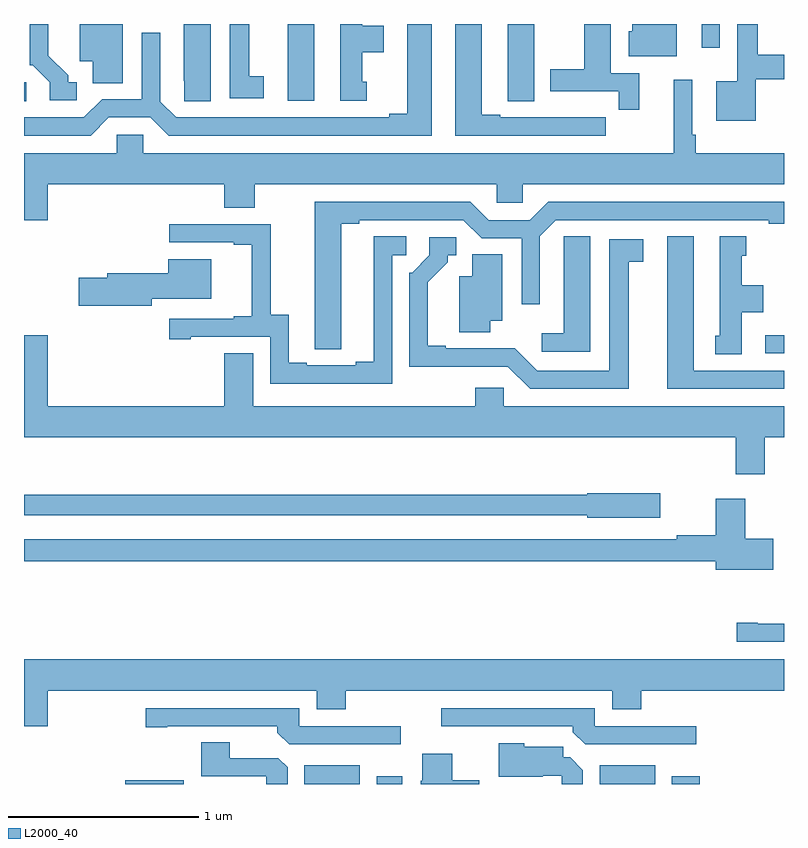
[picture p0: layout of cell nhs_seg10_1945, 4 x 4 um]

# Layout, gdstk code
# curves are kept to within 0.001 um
import gdstk
lib = gdstk.Library(unit=1e-6, precision=1e-09)
def R(c, l, rs):  # rectangles x0, y0, x1, y1
    for r in rs: c.add(gdstk.rectangle(r[:2], r[2:], *l))
def P(c, l, *ps):  # polygons
    for p in ps: c.add(gdstk.Polygon(p, *l))
L2000_40 = (2000, 40)

nhs_seg10_1945 = lib.new_cell('nhs_seg10_1945')
R(nhs_seg10_1945, L2000_40, [(213.533,1290.5,213.841,1290.52), (214.475,1290.5,214.768,1290.598), (214.856,1290.5,214.99,1290.541), (216.029,1290.5,216.322,1290.598), (216.41,1290.5,216.557,1290.541), (216.9,1292.766,217,1292.862), (213,1294.093,213.013,1294.194), (214.388,1294.095,214.528,1294.5), (216.566,1294.374,216.663,1294.5)])
P(nhs_seg10_1945, L2000_40, [(215.686,1294.5),(215.546,1294.5),(215.546,1294.201),(215.547,1294.201),(215.547,1294.093),(215.686,1294.093)],
  [(216.436,1294.5),(216.2,1294.5),(216.2,1294.461),(216.182,1294.461),(216.182,1294.331),(216.436,1294.331)],
  [(213.982,1294.5),(213.842,1294.5),(213.842,1294.201),(213.843,1294.201),(213.843,1294.093),(213.982,1294.093)],
  [(213.277,1294.194),(213.232,1294.194),(213.232,1294.229),(213.127,1294.334),(213.127,1294.5),(213.03,1294.5),(213.03,1294.284),(213.045,1294.284),(213.135,1294.194),(213.135,1294.098),(213.277,1294.098)],
  [(216.061,1294.008),(215.948,1294.008),(215.948,1294.009),(215.782,1294.009),(215.782,1294.008),(215.506,1294.008),(215.506,1294.023),(215.41,1294.023),(215.41,1294.5),(215.27,1294.5),(215.27,1293.912),(216.061,1293.912)],
  [(214.261,1294.226),(214.186,1294.226),(214.186,1294.5),(214.082,1294.5),(214.082,1294.11),(214.261,1294.11)],
  [(213.447,1294.008),(213.665,1294.008),(213.761,1293.912),(215.146,1293.912),(215.146,1294.5),(215.018,1294.5),(215.018,1294.028),(214.922,1294.028),(214.922,1294.008),(213.801,1294.008),(213.717,1294.092),(213.717,1294.453),(213.621,1294.453),(213.621,1294.104),(213.411,1294.104),(213.315,1294.008),(213,1294.008),(213,1293.912),(213.351,1293.912)],
  [(213.52,1294.5),(213.293,1294.5),(213.293,1294.304),(213.362,1294.304),(213.362,1294.189),(213.52,1294.189)],
  [(216.239,1294.242),(216.088,1294.242),(216.088,1294.5),(215.948,1294.5),(215.948,1294.263),(215.771,1294.263),(215.771,1294.146),(216.13,1294.146),(216.13,1294.05),(216.239,1294.05)],
  [(216.85,1294.208),(217,1294.208),(217,1294.338),(216.862,1294.338),(216.862,1294.5),(216.753,1294.5),(216.753,1294.198),(216.644,1294.198),(216.644,1293.992),(216.85,1293.992)],
  [(214.804,1294.197),(214.78,1294.197),(214.78,1294.352),(214.894,1294.352),(214.894,1294.492),(214.78,1294.492),(214.78,1294.5),(214.664,1294.5),(214.664,1294.095),(214.804,1294.095)],
  [(213.124,1293.656),(214.055,1293.656),(214.055,1293.532),(214.215,1293.532),(214.215,1293.656),(215.487,1293.656),(215.487,1293.558),(215.625,1293.558),(215.625,1293.656),(217,1293.656),(217,1293.82),(216.536,1293.82),(216.536,1293.916),(216.516,1293.916),(216.516,1294.207),(216.419,1294.207),(216.419,1293.82),(213.627,1293.82),(213.627,1293.918),(213.489,1293.918),(213.489,1293.82),(213,1293.82),(213,1293.468),(213.124,1293.468)],
  [(214.669,1293.448),(214.765,1293.448),(214.765,1293.468),(215.313,1293.468),(215.409,1293.372),(215.619,1293.372),(215.619,1293.024),(215.715,1293.024),(215.715,1293.384),(215.799,1293.468),(216.92,1293.468),(216.92,1293.448),(217,1293.448),(217,1293.564),(215.759,1293.564),(215.663,1293.468),(215.445,1293.468),(215.349,1293.564),(214.529,1293.564),(214.53,1292.788),(214.669,1292.788)],
  [(214.938,1293.282),(215.011,1293.282),(215.011,1293.383),(214.841,1293.383),(214.841,1292.723),(214.745,1292.723),(214.745,1292.703),(214.489,1292.703),(214.489,1292.718),(214.393,1292.718),(214.393,1292.969),(214.299,1292.969),(214.299,1293.447),(213.765,1293.447),(213.765,1293.351),(214.103,1293.351),(214.103,1293.339),(214.199,1293.339),(214.199,1292.962),(214.103,1292.962),(214.103,1292.949),(213.765,1292.949),(213.765,1292.841),(213.877,1292.841),(213.877,1292.853),(214.296,1292.853),(214.296,1292.607),(214.938,1292.607)],
  [(215.98,1293.383),(215.841,1293.383),(215.841,1293.275),(215.84,1293.275),(215.84,1292.872),(215.724,1292.872),(215.724,1292.775),(215.98,1292.775)],
  [(217,1292.676),(216.526,1292.676),(216.526,1293.382),(216.386,1293.382),(216.386,1292.58),(217,1292.58)],
  [(216.778,1292.984),(216.892,1292.984),(216.892,1293.124),(216.778,1293.124),(216.778,1293.279),(216.802,1293.279),(216.802,1293.382),(216.662,1293.382),(216.662,1292.859),(216.638,1292.859),(216.638,1292.761),(216.778,1292.761)],
  [(216.184,1293.25),(216.259,1293.25),(216.259,1293.366),(216.08,1293.366),(216.08,1292.676),(215.7,1292.676),(215.582,1292.794),(215.221,1292.793),(215.221,1292.806),(215.125,1292.806),(215.125,1293.142),(215.23,1293.247),(215.23,1293.282),(215.275,1293.282),(215.275,1293.378),(215.133,1293.378),(215.133,1293.282),(215.043,1293.192),(215.028,1293.192),(215.028,1292.696),(215.547,1292.697),(215.664,1292.58),(216.184,1292.58)],
  [(215.455,1292.939),(215.518,1292.939),(215.518,1293.287),(215.36,1293.287),(215.36,1293.172),(215.291,1293.172),(215.291,1292.878),(215.455,1292.878)],
  [(213.672,1293.053),(213.985,1293.053),(213.985,1293.262),(213.758,1293.262),(213.758,1293.189),(213.437,1293.189),(213.437,1293.164),(213.288,1293.164),(213.288,1293.017),(213.672,1293.017)],
  [(216.898,1292.324),(217,1292.324),(217,1292.488),(215.526,1292.488),(215.526,1292.586),(215.375,1292.586),(215.375,1292.488),(214.207,1292.488),(214.207,1292.768),(214.055,1292.768),(214.055,1292.488),(213.124,1292.488),(213.124,1292.863),(213,1292.863),(213,1292.324),(216.746,1292.324),(216.746,1292.13),(216.898,1292.13)],
  [(216.349,1292.031),(215.964,1292.031),(215.964,1292.023),(213,1292.023),(213,1291.914),(215.964,1291.914),(215.964,1291.901),(216.349,1291.901)],
  [(216.943,1291.791),(216.796,1291.791),(216.796,1292.002),(216.641,1292.002),(216.641,1291.808),(216.436,1291.808),(216.436,1291.788),(213,1291.788),(213,1291.672),(216.641,1291.672),(216.641,1291.628),(216.943,1291.628)],
  [(217,1291.344),(216.862,1291.344),(216.862,1291.349),(216.75,1291.349),(216.75,1291.248),(217,1291.248)],
  [(213.124,1290.992),(214.541,1290.992),(214.541,1290.893),(214.694,1290.893),(214.694,1290.992),(216.095,1290.992),(216.095,1290.893),(216.248,1290.893),(216.248,1290.992),(217,1290.992),(217,1291.156),(213,1291.156),(213,1290.804),(213.124,1290.804)],
  [(216.538,1290.804),(216.003,1290.804),(216.003,1290.9),(215.196,1290.9),(215.196,1290.804),(215.888,1290.804),(215.888,1290.773),(215.953,1290.708),(216.538,1290.708)],
  [(214.984,1290.804),(214.449,1290.804),(214.449,1290.9),(213.642,1290.9),(213.642,1290.799),(213.754,1290.799),(213.754,1290.804),(214.334,1290.804),(214.334,1290.77),(214.395,1290.708),(214.984,1290.708)],
  [(214.387,1290.587),(214.338,1290.636),(214.084,1290.636),(214.084,1290.719),(213.932,1290.719),(213.932,1290.54),(214.275,1290.54),(214.275,1290.5),(214.387,1290.5)],
  [(215.941,1290.573),(215.875,1290.64),(215.837,1290.64),(215.837,1290.697),(215.634,1290.697),(215.634,1290.715),(215.498,1290.715),(215.498,1290.539),(215.729,1290.539),(215.729,1290.543),(215.829,1290.543),(215.829,1290.5),(215.941,1290.5)],
  [(215.395,1290.52),(215.254,1290.52),(215.254,1290.658),(215.096,1290.658),(215.096,1290.516),(215.087,1290.516),(215.087,1290.5),(215.395,1290.5)])

lib.write_gds('nhs_seg10_1945.gds')
